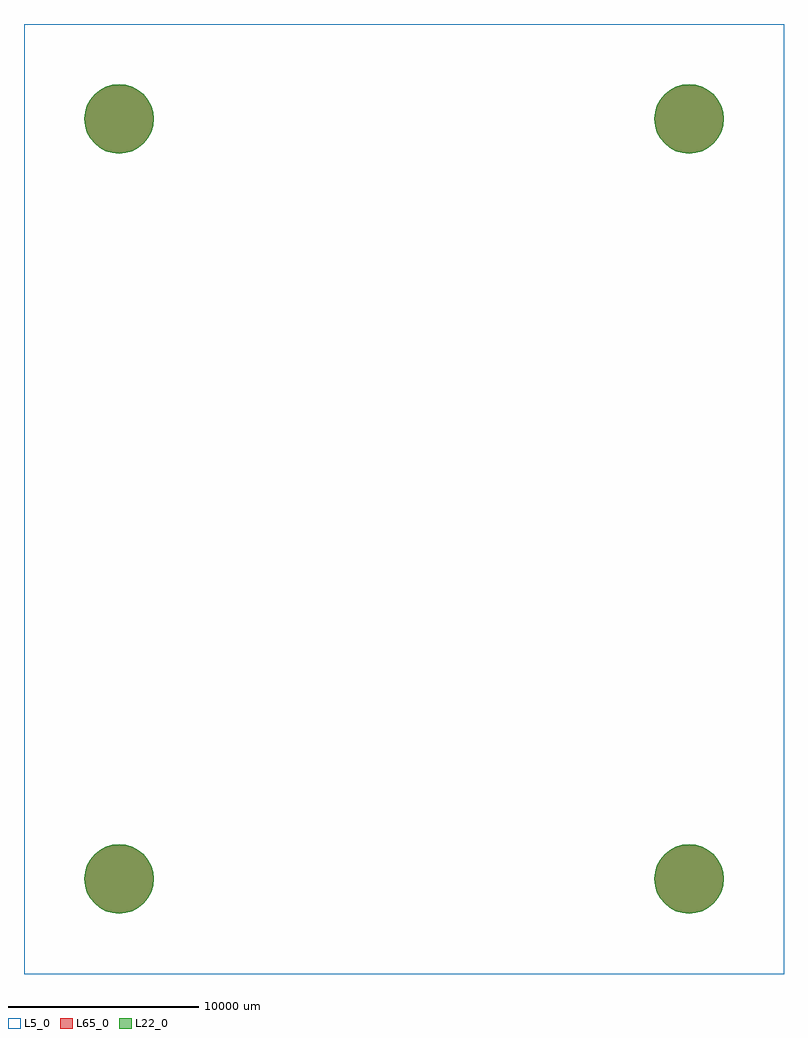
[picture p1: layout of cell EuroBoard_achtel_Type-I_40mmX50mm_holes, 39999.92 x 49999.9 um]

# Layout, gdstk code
import gdstk
lib = gdstk.Library(unit=1e-6, precision=1e-09)
def R(c, l, rs):  # rectangles x0, y0, x1, y1
    for r in rs: c.add(gdstk.rectangle(r[:2], r[2:], *l))
def P(c, l, *ps):  # polygons
    for p in ps: c.add(gdstk.Polygon(p, *l))
L5_0 = (5, 0)
L22_0 = (22, 0)
L65_0 = (65, 0)

euroboard_achtel_type_i_ = lib.new_cell('EuroBoard_achtel_Type-I_40mmX50mm_holes')
R(euroboard_achtel_type_i_, L5_0, [(0,0,39999.92,49999.9)])
P(euroboard_achtel_type_i_, L22_0, [(36826.26,5001.26),(36791.192,5357.312),(36687.336,5699.68),(36518.682,6015.209),(36291.712,6291.772),(36015.149,6518.742),(35699.62,6687.396),(35357.252,6791.252),(35001.2,6826.32),(34645.148,6791.252),(34302.78,6687.396),(33987.251,6518.742),(33710.688,6291.772),(33483.718,6015.209),(33315.064,5699.68),(33211.208,5357.312),(33176.14,5001.26),(33211.208,4645.208),(33315.064,4302.84),(33483.718,3987.311),(33710.688,3710.748),(33987.251,3483.778),(34302.78,3315.124),(34645.148,3211.268),(35001.2,3176.2),(35357.252,3211.268),(35699.62,3315.124),(36015.149,3483.778),(36291.712,3710.748),(36518.682,3987.311),(36687.336,4302.84),(36791.192,4645.208)],
  [(36826.26,45001.18),(36791.192,45357.232),(36687.336,45699.6),(36518.682,46015.129),(36291.712,46291.692),(36015.149,46518.662),(35699.62,46687.316),(35357.252,46791.172),(35001.2,46826.24),(34645.148,46791.172),(34302.78,46687.316),(33987.251,46518.662),(33710.688,46291.692),(33483.718,46015.129),(33315.064,45699.6),(33211.208,45357.232),(33176.14,45001.18),(33211.208,44645.128),(33315.064,44302.76),(33483.718,43987.231),(33710.688,43710.668),(33987.251,43483.698),(34302.78,43315.044),(34645.148,43211.188),(35001.2,43176.12),(35357.252,43211.188),(35699.62,43315.044),(36015.149,43483.698),(36291.712,43710.668),(36518.682,43987.231),(36687.336,44302.76),(36791.192,44645.128)],
  [(6826.32,45001.18),(6791.252,45357.232),(6687.396,45699.6),(6518.742,46015.129),(6291.772,46291.692),(6015.209,46518.662),(5699.68,46687.316),(5357.312,46791.172),(5001.26,46826.24),(4645.208,46791.172),(4302.84,46687.316),(3987.311,46518.662),(3710.748,46291.692),(3483.778,46015.129),(3315.124,45699.6),(3211.268,45357.232),(3176.2,45001.18),(3211.268,44645.128),(3315.124,44302.76),(3483.778,43987.231),(3710.748,43710.668),(3987.311,43483.698),(4302.84,43315.044),(4645.208,43211.188),(5001.26,43176.12),(5357.312,43211.188),(5699.68,43315.044),(6015.209,43483.698),(6291.772,43710.668),(6518.742,43987.231),(6687.396,44302.76),(6791.252,44645.128)],
  [(6826.32,5001.26),(6791.252,5357.312),(6687.396,5699.68),(6518.742,6015.209),(6291.772,6291.772),(6015.209,6518.742),(5699.68,6687.396),(5357.312,6791.252),(5001.26,6826.32),(4645.208,6791.252),(4302.84,6687.396),(3987.311,6518.742),(3710.748,6291.772),(3483.778,6015.209),(3315.124,5699.68),(3211.268,5357.312),(3176.2,5001.26),(3211.268,4645.208),(3315.124,4302.84),(3483.778,3987.311),(3710.748,3710.748),(3987.311,3483.778),(4302.84,3315.124),(4645.208,3211.268),(5001.26,3176.2),(5357.312,3211.268),(5699.68,3315.124),(6015.209,3483.778),(6291.772,3710.748),(6518.742,3987.311),(6687.396,4302.84),(6791.252,4645.208)])
P(euroboard_achtel_type_i_, L65_0, [(36826.26,5001.26),(36791.192,5357.312),(36687.336,5699.68),(36518.682,6015.209),(36291.712,6291.772),(36015.149,6518.742),(35699.62,6687.396),(35357.252,6791.252),(35001.2,6826.32),(34645.148,6791.252),(34302.78,6687.396),(33987.251,6518.742),(33710.688,6291.772),(33483.718,6015.209),(33315.064,5699.68),(33211.208,5357.312),(33176.14,5001.26),(33211.208,4645.208),(33315.064,4302.84),(33483.718,3987.311),(33710.688,3710.748),(33987.251,3483.778),(34302.78,3315.124),(34645.148,3211.268),(35001.2,3176.2),(35357.252,3211.268),(35699.62,3315.124),(36015.149,3483.778),(36291.712,3710.748),(36518.682,3987.311),(36687.336,4302.84),(36791.192,4645.208)],
  [(36826.26,45001.18),(36791.192,45357.232),(36687.336,45699.6),(36518.682,46015.129),(36291.712,46291.692),(36015.149,46518.662),(35699.62,46687.316),(35357.252,46791.172),(35001.2,46826.24),(34645.148,46791.172),(34302.78,46687.316),(33987.251,46518.662),(33710.688,46291.692),(33483.718,46015.129),(33315.064,45699.6),(33211.208,45357.232),(33176.14,45001.18),(33211.208,44645.128),(33315.064,44302.76),(33483.718,43987.231),(33710.688,43710.668),(33987.251,43483.698),(34302.78,43315.044),(34645.148,43211.188),(35001.2,43176.12),(35357.252,43211.188),(35699.62,43315.044),(36015.149,43483.698),(36291.712,43710.668),(36518.682,43987.231),(36687.336,44302.76),(36791.192,44645.128)],
  [(6826.32,45001.18),(6791.252,45357.232),(6687.396,45699.6),(6518.742,46015.129),(6291.772,46291.692),(6015.209,46518.662),(5699.68,46687.316),(5357.312,46791.172),(5001.26,46826.24),(4645.208,46791.172),(4302.84,46687.316),(3987.311,46518.662),(3710.748,46291.692),(3483.778,46015.129),(3315.124,45699.6),(3211.268,45357.232),(3176.2,45001.18),(3211.268,44645.128),(3315.124,44302.76),(3483.778,43987.231),(3710.748,43710.668),(3987.311,43483.698),(4302.84,43315.044),(4645.208,43211.188),(5001.26,43176.12),(5357.312,43211.188),(5699.68,43315.044),(6015.209,43483.698),(6291.772,43710.668),(6518.742,43987.231),(6687.396,44302.76),(6791.252,44645.128)],
  [(6826.32,5001.26),(6791.252,5357.312),(6687.396,5699.68),(6518.742,6015.209),(6291.772,6291.772),(6015.209,6518.742),(5699.68,6687.396),(5357.312,6791.252),(5001.26,6826.32),(4645.208,6791.252),(4302.84,6687.396),(3987.311,6518.742),(3710.748,6291.772),(3483.778,6015.209),(3315.124,5699.68),(3211.268,5357.312),(3176.2,5001.26),(3211.268,4645.208),(3315.124,4302.84),(3483.778,3987.311),(3710.748,3710.748),(3987.311,3483.778),(4302.84,3315.124),(4645.208,3211.268),(5001.26,3176.2),(5357.312,3211.268),(5699.68,3315.124),(6015.209,3483.778),(6291.772,3710.748),(6518.742,3987.311),(6687.396,4302.84),(6791.252,4645.208)])
euroboard_achtel_type_i_.add(gdstk.Label('type', (19999.96,-7000.24), layer=9, texttype=0))
euroboard_achtel_type_i_.add(gdstk.Label('devicename', (19999.96,52999.64), layer=9, texttype=0))

lib.write_gds('EuroBoard_achtel_Type-I_40mmX50mm_holes.gds')
